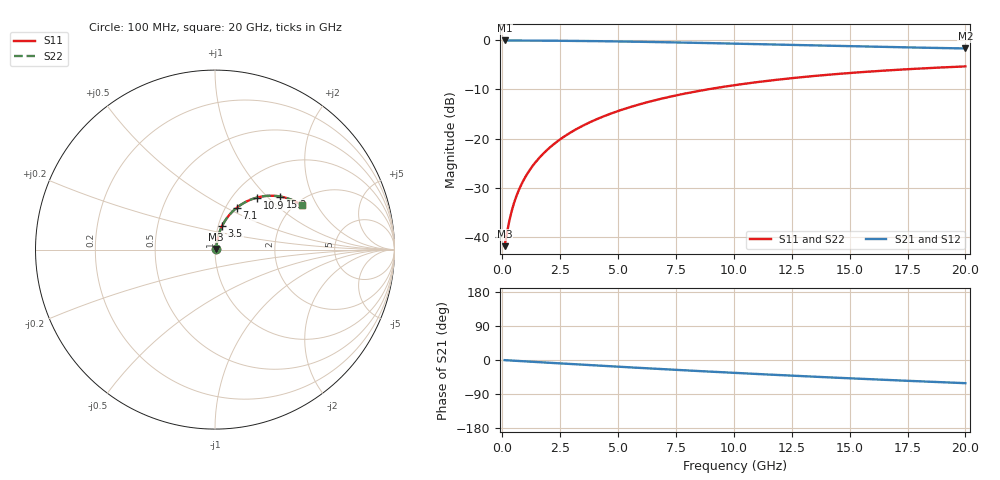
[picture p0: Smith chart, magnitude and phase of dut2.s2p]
! Touchstone file exported from HFSS 2026.1.0
!  File:  C:/ffzhzh/LocalFiles/Ansys_Project_Files/temp_train_BSMRDL_2_1782881734_46784.aedt
!  Generated:  12:57:07 PM Jul  1, 2026
!  Design:  BSMRDL
!  Project:  temp_train_BSMRDL_2_1782881734_46784
! Variables:
!  h_bsmrdl = 3.14um
!  h_ox = 20um
!  h_rdl = 5um
!  h_sub = 80um
!  h_tmrdl = 5um
!  h_tsv = 80um
!  h_via = 3um
!  l_bsmrdl = 948.05um
!  l_sub = 1348.05um
!  l_tmrdl = 200um
!  m_sub = 200um
!  pitch = 42.12um
!  r_tsv = 6um
!  s_tmrdl = 10um
!  w_bsmrdl = 15.47um
!  w_sub = 500um
!  w_tmrdl = 12um
!  x_tsv_center1 = 206um
!  x_tsv_center2 = 1169.52um
!  x_tsv_center3 = 1381.52um
!  x_tsv_center4 = 2345.04um
!  x_tsv_center5 = 2557.04um
!  x_tsv_center6 = 3520.56um
# GHz S MA R 50.000000
! Terminal data exported
! Port[1] = BSM_RDL1_1_T1
! Port[2] = BSM_RDL1_1_T2
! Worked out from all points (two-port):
!   200 points, 100 MHz to 20 GHz, reference 50 ohm
!   highest |S21| = -0.06 dB at 100 MHz (marker M1); lowest = -1.7 dB at 20 GHz (marker M2)
!   |S21| within 3 dB of the highest: start of sweep to end of sweep
!   lowest |S11| = -41.8 dB at 100 MHz (marker M3), VSWR 1.02, Z = 50.7 + j0.429 ohm
!   |S11| at or under -10 dB: start of sweep to 8.846 GHz
!   |S22| runs from -41.8 to -5.3 dB; largest |S21 - S12| = 3.8e-15
!   S11 on the Smith chart (normalised r, x): 100 MHz: 1.01, +0.01; 3.5 GHz: 1.04, +0.28; 7.1 GHz: 1.13, +0.56; 10.9 GHz: 1.28, +0.86; 15.2 GHz: 1.58, +1.20; 20 GHz: 2.14, +1.50
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0.1  0.008159 31.2  0.993 -0.4  0.993 -0.4  0.008159 31.2
! Gamma 0 0 0 0
! Port Impedance 50 0 50 0
0.3  0.0146 58.9  0.9926 -1.1  0.9926 -1.1  0.0146 58.9
0.4  0.01832 64.3  0.9923 -1.5  0.9923 -1.5  0.01832 64.3
0.5  0.02209 67.7  0.9921 -1.8  0.9921 -1.8  0.02209 67.7
0.6  0.02589 70.0  0.9918 -2.2  0.9918 -2.2  0.02589 70.0
0.8  0.03351 73.0  0.9913 -2.9  0.9913 -2.9  0.03351 73.0
1.1  0.045 75.2  0.9906 -4.0  0.9906 -4.0  0.045 75.2
1.6  0.06424 76.4  0.9892 -5.8  0.9892 -5.8  0.06424 76.4
2.1  0.08348 76.2  0.9875 -7.5  0.9875 -7.5  0.08348 76.2
2.7  0.1064 75.3  0.985 -9.7  0.985 -9.7  0.1064 75.3
3.5  0.1366 73.4  0.9808 -12.5  0.9808 -12.5  0.1366 73.4
4.2  0.1625 71.4  0.9764 -14.9  0.9764 -14.9  0.1625 71.4
5  0.1913 69.0  0.9706 -17.7  0.9706 -17.7  0.1913 69.1
6.8  0.2527 63.5  0.9552 -23.7  0.9552 -23.7  0.2527 63.5
7.1  0.2625 62.6  0.9524 -24.7  0.9524 -24.7  0.2625 62.6
8.5  0.306 58.2  0.9385 -29.2  0.9385 -29.2  0.306 58.3
10.1  0.3516 53.4  0.9216 -34.2  0.9216 -34.2  0.3516 53.4
10.9  0.3728 51.1  0.9129 -36.6  0.9129 -36.6  0.3728 51.1
13.4  0.4319 44.0  0.8859 -43.9  0.8859 -43.9  0.4319 44.0
15.2  0.4682 39.2  0.8671 -48.9  0.8671 -48.9  0.4682 39.2
16.7  0.4947 35.3  0.8523 -52.8  0.8523 -52.8  0.4947 35.3
20  0.542 27.2  0.8235 -61.2  0.8235 -61.2  0.542 27.2
